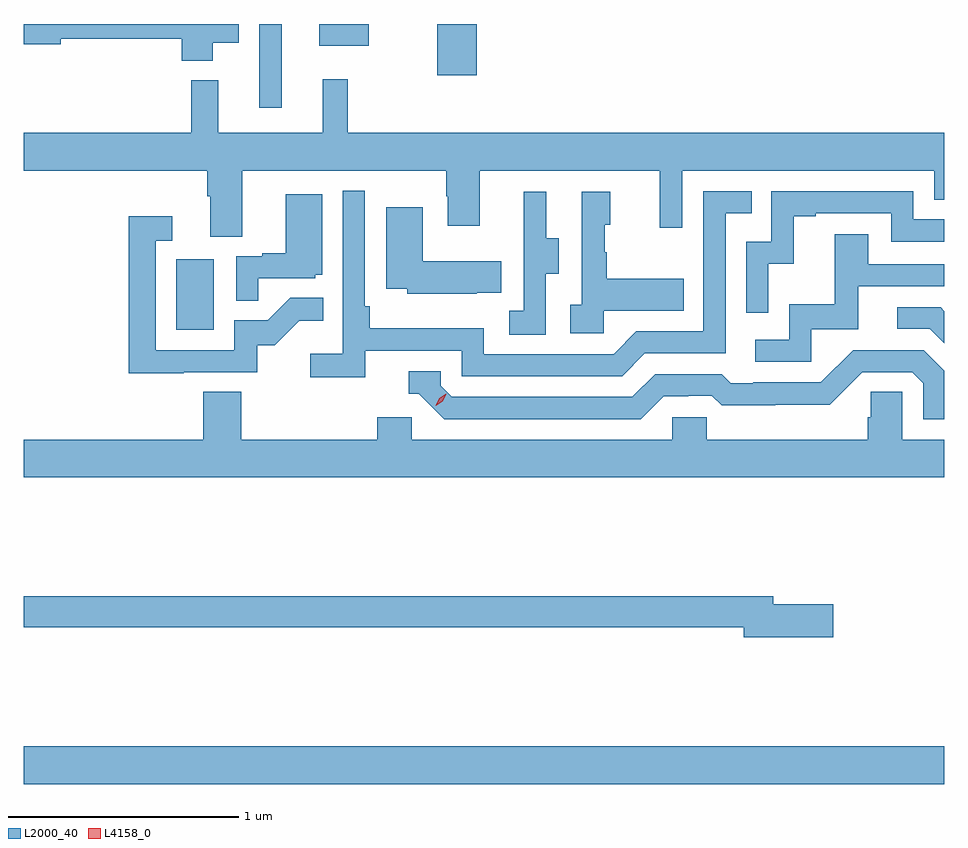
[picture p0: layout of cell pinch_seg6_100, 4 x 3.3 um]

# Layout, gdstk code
import gdstk
lib = gdstk.Library(unit=1e-6, precision=1e-09)
def R(c, l, rs):  # rectangles x0, y0, x1, y1
    for r in rs: c.add(gdstk.rectangle(r[:2], r[2:], *l))
def P(c, l, *ps):  # polygons
    for p in ps: c.add(gdstk.Polygon(p, *l))
L2000_40 = (2000, 40)
L4158_0 = (4158, 0)

pinch_seg6_100 = lib.new_cell('pinch_seg6_100')
R(pinch_seg6_100, L2000_40, [(899.921,918.032,903.921,918.196), (900.584,920.004,900.748,920.311), (900.945,920.97,901.042,921.333), (901.718,921.111,901.889,921.333), (901.205,921.239,901.42,921.333)])
P(pinch_seg6_100, L2000_40, [(900.742,921.251),(900.856,921.251),(900.856,921.333),(899.921,921.333),(899.921,921.244),(900.082,921.244),(900.082,921.27),(900.608,921.27),(900.608,921.173),(900.742,921.173)],
  [(901.33,921.094),(901.22,921.094),(901.22,920.86),(900.767,920.86),(900.767,921.088),(900.649,921.088),(900.649,920.86),(899.921,920.86),(899.921,920.696),(900.719,920.696),(900.719,920.584),(900.731,920.584),(900.731,920.41),(900.871,920.41),(900.871,920.696),(901.756,920.696),(901.756,920.585),(901.763,920.585),(901.763,920.457),(901.903,920.457),(901.903,920.696),(902.684,920.696),(902.684,920.448),(902.781,920.448),(902.781,920.696),(903.876,920.696),(903.876,920.569),(903.921,920.569),(903.921,920.86),(901.33,920.86)],
  [(901.406,919.914),(901.824,919.914),(901.824,919.803),(902.521,919.803),(902.62,919.902),(902.97,919.902),(902.97,920.511),(903.083,920.511),(903.083,920.607),(902.874,920.607),(902.874,919.998),(902.583,919.998),(902.484,919.899),(901.92,919.899),(901.92,920.011),(901.424,920.011),(901.424,920.107),(901.404,920.107),(901.404,920.608),(901.308,920.608),(901.308,919.9),(901.167,919.9),(901.167,919.798),(901.406,919.798)],
  [(903.156,920.291),(903.266,920.291),(903.266,920.499),(903.361,920.499),(903.361,920.511),(903.69,920.511),(903.69,920.388),(903.921,920.388),(903.921,920.484),(903.786,920.484),(903.786,920.607),(903.168,920.607),(903.168,920.388),(903.06,920.388),(903.06,920.079),(903.156,920.079)],
  [(902.19,920.248),(902.245,920.248),(902.245,920.403),(902.191,920.403),(902.191,920.605),(902.093,920.605),(902.093,920.391),(902.094,920.391),(902.094,920.087),(902.031,920.087),(902.031,919.984),(902.19,919.984)],
  [(902.442,920.087),(902.789,920.087),(902.789,920.227),(902.455,920.227),(902.455,920.342),(902.445,920.342),(902.445,920.46),(902.47,920.46),(902.47,920.605),(902.346,920.605),(902.346,920.114),(902.295,920.114),(902.295,919.989),(902.442,919.989)],
  [(900.941,920.229),(901.188,920.229),(901.188,920.244),(901.219,920.244),(901.219,920.593),(901.061,920.593),(901.061,920.338),(900.957,920.338),(900.957,920.325),(900.846,920.325),(900.846,920.131),(900.941,920.131)],
  [(901.889,920.165),(901.997,920.165),(901.997,920.302),(901.654,920.302),(901.654,920.536),(901.496,920.536),(901.496,920.183),(901.587,920.183),(901.587,920.162),(901.889,920.162)],
  [(900.617,919.821),(900.936,919.821),(900.936,919.938),(901.012,919.938),(901.119,920.045),(901.223,920.045),(901.223,920.144),(901.079,920.144),(900.981,920.046),(900.837,920.046),(900.837,919.917),(900.495,919.917),(900.495,920.391),(900.568,920.391),(900.568,920.497),(900.379,920.497),(900.379,919.816),(900.617,919.816)],
  [(903.342,920.007),(903.547,920.007),(903.547,920.193),(903.921,920.193),(903.921,920.289),(903.589,920.289),(903.589,920.419),(903.445,920.419),(903.445,920.116),(903.246,920.116),(903.246,919.962),(903.099,919.962),(903.099,919.866),(903.342,919.866)],
  [(903.921,920.086),(903.904,920.103),(903.717,920.103),(903.717,920.01),(903.858,920.01),(903.921,919.947)],
  [(902.701,919.716),(902.808,919.716),(902.808,919.719),(902.911,919.719),(902.953,919.677),(903.186,919.677),(903.186,919.679),(903.422,919.679),(903.564,919.821),(903.78,919.821),(903.828,919.773),(903.828,919.617),(903.921,919.617),(903.921,919.827),(903.831,919.917),(903.525,919.917),(903.384,919.776),(903.091,919.776),(903.091,919.773),(902.992,919.773),(902.953,919.812),(902.664,919.812),(902.565,919.713),(901.782,919.713),(901.734,919.761),(901.734,919.824),(901.595,919.824),(901.595,919.728),(901.638,919.728),(901.749,919.617),(902.602,919.617)],
  [(903.921,919.528),(903.738,919.528),(903.738,919.736),(903.601,919.736),(903.601,919.626),(903.587,919.626),(903.587,919.528),(902.889,919.528),(902.889,919.626),(902.739,919.626),(902.739,919.528),(901.608,919.528),(901.608,919.626),(901.457,919.626),(901.457,919.528),(900.866,919.528),(900.866,919.736),(900.701,919.736),(900.701,919.528),(899.921,919.528),(899.921,919.364),(903.921,919.364)],
  [(903.439,918.812),(903.178,918.812),(903.178,918.848),(899.921,918.848),(899.921,918.712),(903.05,918.712),(903.05,918.67),(903.439,918.67)])
P(pinch_seg6_100, L4158_0, [(901.711,919.675),(901.711,919.675),(901.727,919.707),(901.758,919.727),(901.758,919.727),(901.758,919.726),(901.742,919.694),(901.712,919.675)])

lib.write_gds('pinch_seg6_100.gds')
